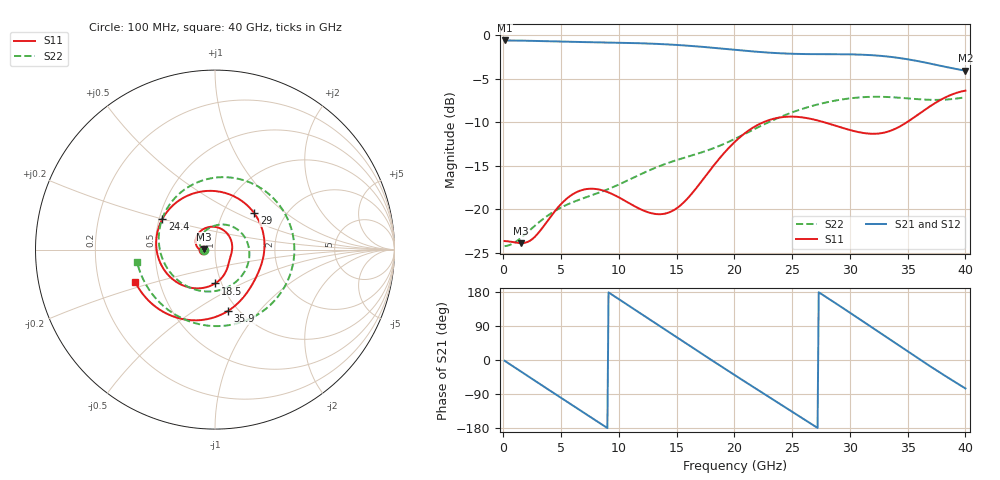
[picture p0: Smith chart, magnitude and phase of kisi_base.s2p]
! D_s8_cap_2: L1 (ref L2 GND) → L3 (ref L4 PWR), capacitor GND–PWR at 2 mm
! stackup: 8-layer 1.6 mm FR-4 (generic)
! ports: 1, 2
! kisi-fdtd, conformal, dfine 0.035 mm, 886275 cells
# Hz S RI R 50
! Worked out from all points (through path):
!   400 points, 100 MHz to 40 GHz, reference 50 ohm
!   highest |S21| = -0.63 dB at 100 MHz (marker M1); lowest = -4.1 dB at 40 GHz (marker M2)
!   group delay of S21, straight-line fit = 55.2 ps
!   lowest |S11| = -23.9 dB at 1.5 GHz (marker M3), VSWR 1.14, Z = 44 + j0.154 ohm
!   |S11| at or under -10 dB: start of sweep to 22.52 GHz; 27.74 GHz to 34.95 GHz (7.208 GHz wide, 23 % of centre)
!   |S22| runs from -24.2 to -7.1 dB; largest |S21 - S12| = 0.0017
!   S11 on the Smith chart (normalised r, x): 100 MHz: 0.88, +0.00; 18.5 GHz: 0.93, -0.36; 24.4 GHz: 0.52, +0.20; 29 GHz: 1.40, +0.62; 35.9 GHz: 0.90, -0.70; 40 GHz: 0.36, -0.17
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1e8  -0.0658 0.000328  0.9297 -0.0327  0.9286 -0.0326  -0.0615 -2.52e-05
1.5e9  -0.064 0.00174  0.8025 -0.4667  0.8023 -0.4657  -0.0684 0.00251
2.9e9  -0.0716 -0.00261  0.4863 -0.7856  0.4872 -0.7853  -0.0806 0.0171
4.2e9  -0.0927 0.0063  0.0933 -0.9144  0.0938 -0.915  -0.0859 0.0419
6.8e9  -0.0915 0.0909  -0.6536 -0.6346  -0.6541 -0.6344  -0.0612 0.0974
8.4e9  -0.0254 0.1269  -0.8861 -0.1938  -0.886 -0.1933  -0.028 0.1223
9.9e9  0.0471 0.1082  -0.861 0.2729  -0.8606 0.2728  0.0139 0.1372
1.18e10  0.0939 0.0362  -0.5063 0.7401  -0.5064 0.7398  0.0865 0.1322
1.34e10  0.0915 -0.0207  -0.0348 0.8878  -0.0351 0.8879  0.1536 0.0853
1.47e10  0.0817 -0.0551  0.3558 0.8041  0.3558 0.8043  0.1885 0.0105
1.62e10  0.0701 -0.0982  0.7 0.5096  0.7002 0.5096  0.1756 -0.1011
1.85e10  0.000628 -0.1886  0.8282 -0.1426  0.8281 -0.1428  0.0188 -0.2276
2.01e10  -0.1204 -0.2147  0.6169 -0.5422  0.6168 -0.542  -0.143 -0.2108
2.22e10  -0.2941 -0.0954  0.1078 -0.7914  0.108 -0.7913  -0.2961 -0.0417
2.44e10  -0.2928 0.1713  -0.4465 -0.6429  -0.4465 -0.6431  -0.2781 0.2086
2.67e10  -0.0368 0.3273  -0.7633 -0.1421  -0.7635 -0.1419  -0.0719 0.3846
2.9e10  0.2184 0.203  -0.6355 0.4445  -0.6352 0.4446  0.2127 0.3661
3.13e10  0.2723 -0.0231  -0.1131 0.7612  -0.1133 0.7608  0.4195 0.1344
3.34e10  0.2165 -0.1784  0.4267 0.6176  0.4263 0.618  0.4026 -0.1784
3.59e10  0.072 -0.3419  0.7058 0.0544  0.7066 0.0542  0.0861 -0.4195
3.81e10  -0.2059 -0.381  0.513 -0.4157  0.5122 -0.4165  -0.2662 -0.3316
4e10  -0.4437 -0.1815  0.1611 -0.6032  0.1601 -0.6018  -0.4339 -0.0712
